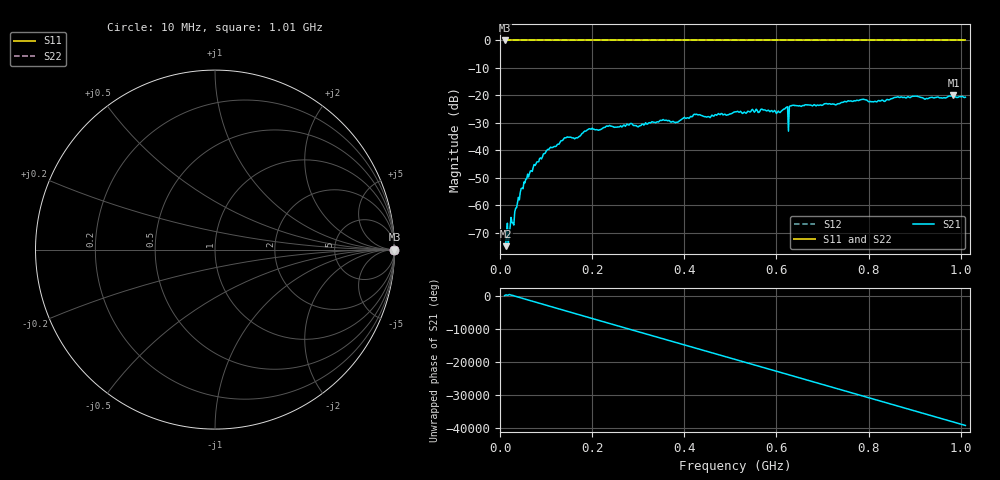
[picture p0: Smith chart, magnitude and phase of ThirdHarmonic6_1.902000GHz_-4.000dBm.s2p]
! 8/16/2025 10:57:08 PM
! C:\ANRITSUVNA\TEMP\TEMP.S2P
! CHANNEL.1
! TR.MEASUREMENT
! RAW.DATA
! RF.CORRECTION.OFF
! AVERAGING.OFF
! IF.BANDWIDTH: 5KHZ
! SWEEPTYPE:  FREQ.SWEEP(Linear)
! Reference Plane Port Info
! PORT:  PORT1  PORT2
! DISTANCE:  0  m  0  m
! TIME:  0  s  0  s
! PHASE.OFFSET:  0  deg.  0  deg.
! LOSS:  0  dB  0  dB
! REF.LOSS:  0  dB  0  dB
! REF.FREQ:  0  Hz  0  Hz
! Power Info
! POWER:  -20  dBm  -20  dBm
! EFF.POWER:  -20  dBm  -20  dBm
! SOURCE.ATTEN:  0  dB  0  dB
! TEST.ATTEN:  0  dB  0  dB
# GHZ S RI R 50.0
! FREQ.GHZ  S11RE  S11IM  S21RE  S21IM  S12RE  S12IM  S22RE  S22IM
!; PortSelection: Port_12
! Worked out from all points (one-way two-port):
!   501 points, 10 MHz to 1.01 GHz, reference 50 ohm
!   highest |S21| = -19.90 dB at 984 MHz (marker M1); lowest = -74.9 dB at 12 MHz (marker M2)
!   lowest |S11| = 0.0 dB at 10 MHz (marker M3)
!   |S11| at or under -10 dB: nowhere
!   |S22| runs from 0.0 to 0.0 dB; largest |S21 - S12| = 1.1
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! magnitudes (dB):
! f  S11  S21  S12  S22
! 10 MHz  0.0  -74.6  0.0  0.0
! 12 MHz  0.0  -74.9  0.0  0.0
! 30 MHz  0.0  -67.2  0.0  0.0
! 48 MHz  0.0  -53.8  0.0  0.0
! 76 MHz  0.0  -45.5  0.0  0.0
! 106 MHz  0.0  -39.7  0.0  0.0
! 142 MHz  0.0  -35.5  0.0  0.0
! 178 MHz  0.0  -33.9  0.0  0.0
! 196 MHz  0.0  -32.2  0.0  0.0
! 344 MHz  0.0  -29.7  0.0  0.0
! 382 MHz  0.0  -29.8  0.0  0.0
! 424 MHz  0.0  -27.0  0.0  0.0
! 510 MHz  0.0  -26.0  0.0  0.0
! 604 MHz  0.0  -25.7  0.0  0.0
! 620 MHz  0.0  -24.5  0.0  0.0
! 622 MHz  0.0  -24.3  0.0  0.0
! 630 MHz  0.0  -23.8  0.0  0.0
! 632 MHz  0.0  -23.8  0.0  0.0
! 678 MHz  0.0  -23.8  0.0  0.0
! 844 MHz  0.0  -21.6  0.0  0.0
! 984 MHz  0.0  -19.9  0.0  0.0
! 1.01 GHz  0.0  -20.7  0.0  0.0
